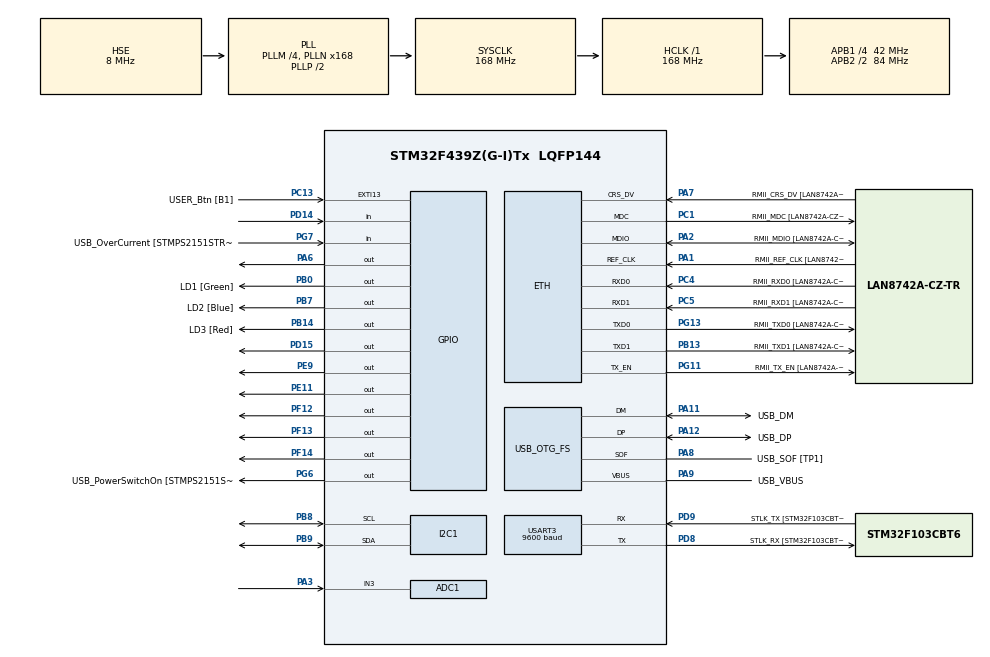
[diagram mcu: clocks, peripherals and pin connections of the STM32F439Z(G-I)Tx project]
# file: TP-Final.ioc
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ADC1.Channel-0\#ChannelRegularConversion=ADC_CHANNEL_3
ADC1.NbrOfConversionFlag=1
ADC1.Rank-0\#ChannelRegularConversion=1
ADC1.Resolution=ADC_RESOLUTION_10B
ADC1.SamplingTime-0\#ChannelRegularConversion=ADC_SAMPLETIME_3CYCLES
ADC1.master=1
ETH.MediaInterface=HAL_ETH_RMII_MODE
ETH.PHY_Name=LAN8742A_PHY_ADDRESS
ETH.PHY_Value=0
ETH.PhyAddress=0
Mcu.Family=STM32F4
Mcu.Name=STM32F439Z(G-I)Tx
Mcu.Package=LQFP144
NVIC.PriorityGroup=NVIC_PRIORITYGROUP_4
PA1.GPIO_Label=RMII_REF_CLK [LAN8742A-CZ-TR_REFCLK0]
PA1.Mode=RMII
PA1.Signal=ETH_REF_CLK
PA10.GPIO_Label=USB_ID
PA10.Signal=USB_OTG_FS_ID
PA11.GPIO_Label=USB_DM
PA11.Mode=Device_Only
PA11.Signal=USB_OTG_FS_DM
PA12.GPIO_Label=USB_DP
PA12.Mode=Device_Only
PA12.Signal=USB_OTG_FS_DP
PA13.GPIO_Label=TMS
PA13.Mode=Serial_Wire
PA13.Signal=SYS_JTMS-SWDIO
PA14.GPIO_Label=TCK
PA14.Mode=Serial_Wire
PA14.Signal=SYS_JTCK-SWCLK
PA2.GPIO_Label=RMII_MDIO [LAN8742A-CZ-TR_MDIO]
PA2.Mode=RMII
PA2.Signal=ETH_MDIO
PA3.Signal=ADCx_IN3
PA6.Signal=GPIO_Output
PA7.GPIO_Label=RMII_CRS_DV [LAN8742A-CZ-TR_CRS_DV]
PA7.Mode=RMII
PA7.Signal=ETH_CRS_DV
PA8.GPIO_Label=USB_SOF [TP1]
PA8.Mode=Activate_SOF_FS
PA8.Signal=USB_OTG_FS_SOF
PA9.GPIO_Label=USB_VBUS
PA9.Mode=Activate_VBUS
PA9.Signal=USB_OTG_FS_VBUS
PB0.GPIO_Label=LD1 [Green]
PB0.Signal=GPIO_Output
PB13.GPIO_Label=RMII_TXD1 [LAN8742A-CZ-TR_TXD1]
PB13.Mode=RMII
PB13.Signal=ETH_TXD1
PB14.GPIO_Label=LD3 [Red]
PB14.Signal=GPIO_Output
PB7.GPIO_Label=LD2 [Blue]
PB7.Signal=GPIO_Output
PB8.Mode=I2C
PB8.Signal=I2C1_SCL
PB9.Mode=I2C
PB9.Signal=I2C1_SDA
PC1.GPIO_Label=RMII_MDC [LAN8742A-CZ-TR_MDC]
PC1.Mode=RMII
PC1.Signal=ETH_MDC
PC13.GPIO_Label=USER_Btn [B1]
PC13.Signal=GPXTI13
PC14/OSC32_IN.Mode=LSE-External-Oscillator
PC14/OSC32_IN.Signal=RCC_OSC32_IN
PC15/OSC32_OUT.Mode=LSE-External-Oscillator
PC15/OSC32_OUT.Signal=RCC_OSC32_OUT
PC4.GPIO_Label=RMII_RXD0 [LAN8742A-CZ-TR_RXD0]
PC4.Mode=RMII
PC4.Signal=ETH_RXD0
PC5.GPIO_Label=RMII_RXD1 [LAN8742A-CZ-TR_RXD1]
PC5.Mode=RMII
PC5.Signal=ETH_RXD1
PD14.Signal=GPIO_Input
PD15.Signal=GPIO_Output
PD8.GPIO_Label=STLK_RX [STM32F103CBT6_PA3]
PD8.Mode=Asynchronous
PD8.Signal=USART3_TX
PD9.GPIO_Label=STLK_TX [STM32F103CBT6_PA2]
PD9.Mode=Asynchronous
PD9.Signal=USART3_RX
PE11.Signal=GPIO_Output
PE9.Signal=GPIO_Output
PF12.Signal=GPIO_Output
PF13.Signal=GPIO_Output
PF14.Signal=GPIO_Output
PG11.GPIO_Label=RMII_TX_EN [LAN8742A-CZ-TR_TXEN]
PG11.Mode=RMII
PG11.Signal=ETH_TX_EN
PG13.GPIO_Label=RMII_TXD0 [LAN8742A-CZ-TR_TXD0]
PG13.Mode=RMII
PG13.Signal=ETH_TXD0
PG6.GPIO_Label=USB_PowerSwitchOn [STMPS2151STR_EN]
PG6.Signal=GPIO_Output
PG7.GPIO_Label=USB_OverCurrent [STMPS2151STR_FAULT]
PG7.Signal=GPIO_Input
PH0/OSC_IN.GPIO_Label=MCO [STM32F103CBT6_PA8]
PH0/OSC_IN.Mode=HSE-External-Clock-Source
PH0/OSC_IN.Signal=RCC_OSC_IN
PH1/OSC_OUT.Mode=HSE-External-Clock-Source
PH1/OSC_OUT.Signal=RCC_OSC_OUT
ProjectManager.HeapSize=0x200
ProjectManager.StackSize=0x400
ProjectManager.TargetToolchain=STM32CubeIDE
RCC.48MHZClocksFreq_Value=48000000
RCC.AHBFreq_Value=168000000
RCC.APB1CLKDivider=RCC_HCLK_DIV4
RCC.APB1Freq_Value=42000000
RCC.APB1TimFreq_Value=84000000
RCC.APB2CLKDivider=RCC_HCLK_DIV2
RCC.APB2Freq_Value=84000000
RCC.APB2TimCLKDivider=2
RCC.APB2TimFreq_Value=168000000
RCC.CortexFreq_Value=168000000
RCC.HCLKFreq_Value=168000000
RCC.HSE_VALUE=8000000
RCC.HSI_VALUE=16000000
RCC.PLLM=4
RCC.PLLMUL=RCC_PLL_MUL9
RCC.PLLN=168
RCC.PLLQ=7
RCC.PRESCALERUSB=RCC_USBCLKSOURCE_PLL_DIV1_5
RCC.SYSCLKFreq_VALUE=168000000
RCC.SYSCLKSource=RCC_SYSCLKSOURCE_PLLCLK
RCC.SYSCLKSourceVirtual=RCC_SYSCLKSOURCE_PLLCLK
RCC.USBFreq_Value=48000000
RCC.VCOOutputFreq_Value=336000000
SH.ADCx_IN3.0=ADC1_IN3,IN3
USART3.BaudRate=9600
USART3.VirtualMode=VM_ASYNC
USB_OTG_FS.VirtualMode=Device_Only
board=NUCLEO-F439ZI

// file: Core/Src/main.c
/* USER CODE BEGIN Header */
/**
  ******************************************************************************
  * @file           : main.c
  * @brief          : Main program body
  ******************************************************************************
  * @attention
  *
  * Copyright (c) 2023 STMicroelectronics.
  * All rights reserved.
  *
  * This software is licensed under terms that can be found in the LICENSE file
  * in the root directory of this software component.
  * If no LICENSE file comes with this software, it is provided AS-IS.
  *
  ******************************************************************************
  */
/* USER CODE END Header */
#include "main.h"
#include "adc.h"
#include "eth.h"
#include "i2c.h"
#include "usart.h"
#include "usb_otg.h"
#include "gpio.h"

/* USER CODE BEGIN Includes */
#include "common.h"
#include "API_adc.h"
#include "API_lcd.h"
#include "API_keypad.h"
#include "API_rtc.h"
#include "pantallas.h"
/* USER CODE END Includes */

/* USER CODE BEGIN PV */
uint8_t mostrar_pantalla = PAGINA_OPCIONES;
/* USER CODE END PV */

void SystemClock_Config(void);

int main(void)
{

  /* MCU Configuration--------------------------------------------------------*/

  /* Reset of all peripherals, Initializes the Flash interface and the Systick. */
  HAL_Init();

  /* Configure the system clock */
  SystemClock_Config();

  /* Initialize all configured peripherals */
  MX_GPIO_Init();
  MX_ETH_Init();
  MX_USART3_UART_Init();
  MX_USB_OTG_FS_PCD_Init();
  MX_I2C1_Init();
  MX_ADC1_Init();
  /* USER CODE BEGIN 2 */

  HAL_Delay(100);
  lcd_init();
  pag_inicio();

  //Descomentar para ajustar fecha y hora
  // ajustar_fecha_hora(23, 12, 5, 14, 15, 49, 0);

  /* USER CODE END 2 */

  /* Infinite loop */
  /* USER CODE BEGIN WHILE */
  while (1)
  {
	  switch(mostrar_pantalla){
	      case PAGINA_OPCIONES:
	    	  pag_opciones();
	          break;
	      case PAGINA_FECHA:
	    	  pag_fecha();
	          break;
	      case PAGINA_TEMP:
	    	  pag_temp();
	          break;
	      default:
	          break;
	      }

    /* USER CODE END WHILE */

  }
}

void SystemClock_Config(void)
{
  RCC_OscInitTypeDef RCC_OscInitStruct = {0};
  RCC_ClkInitTypeDef RCC_ClkInitStruct = {0};

  /** Configure the main internal regulator output voltage
  */
  __HAL_RCC_PWR_CLK_ENABLE();
  __HAL_PWR_VOLTAGESCALING_CONFIG(PWR_REGULATOR_VOLTAGE_SCALE1);

  /** Initializes the RCC Oscillators according to the specified parameters
  * in the RCC_OscInitTypeDef structure.
  */
  RCC_OscInitStruct.OscillatorType = RCC_OSCILLATORTYPE_HSE;
  RCC_OscInitStruct.HSEState = RCC_HSE_BYPASS;
  RCC_OscInitStruct.PLL.PLLState = RCC_PLL_ON;
  RCC_OscInitStruct.PLL.PLLSource = RCC_PLLSOURCE_HSE;
  RCC_OscInitStruct.PLL.PLLM = 4;
  RCC_OscInitStruct.PLL.PLLN = 168;
  RCC_OscInitStruct.PLL.PLLP = RCC_PLLP_DIV2;
  RCC_OscInitStruct.PLL.PLLQ = 7;
  if (HAL_RCC_OscConfig(&RCC_OscInitStruct) != HAL_OK)
  {
    Error_Handler();
  }

  /** Initializes the CPU, AHB and APB buses clocks
  */
  RCC_ClkInitStruct.ClockType = RCC_CLOCKTYPE_HCLK|RCC_CLOCKTYPE_SYSCLK
                              |RCC_CLOCKTYPE_PCLK1|RCC_CLOCKTYPE_PCLK2;
  RCC_ClkInitStruct.SYSCLKSource = RCC_SYSCLKSOURCE_PLLCLK;
  RCC_ClkInitStruct.AHBCLKDivider = RCC_SYSCLK_DIV1;
  RCC_ClkInitStruct.APB1CLKDivider = RCC_HCLK_DIV4;
  RCC_ClkInitStruct.APB2CLKDivider = RCC_HCLK_DIV2;

  if (HAL_RCC_ClockConfig(&RCC_ClkInitStruct, FLASH_LATENCY_5) != HAL_OK)
  {
    Error_Handler();
  }
}

void Error_Handler(void)
{
  __disable_irq();
  while (1)
  {
  }
}
